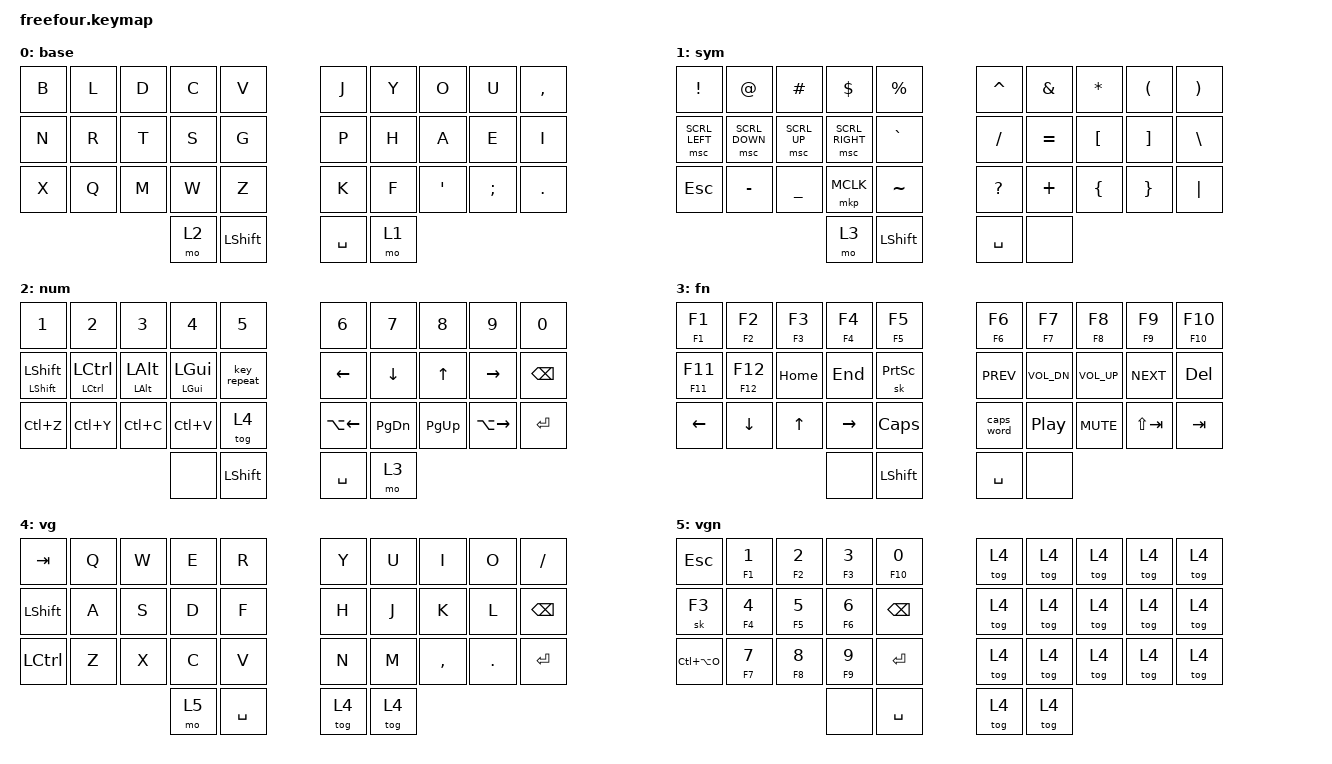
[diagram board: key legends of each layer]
#include <behaviors.dtsi>
#include <dt-bindings/zmk/keys.h>

#include <dt-bindings/zmk/pointing.h>

&sk {
    release-after-ms = <2000>;
};

/ {
    behaviors {
        skt: sk_tap {
            compatible = "zmk,behavior-hold-tap";
            #binding-cells = <2>;
            flavor = "tap-preferred";
            tapping-term-ms = <250>;
            bindings = <&sk>, <&kp>;
            display-name = "Sk-Tap";
        };

        tsk: tap_sk {
            compatible = "zmk,behavior-hold-tap";
            #binding-cells = <2>;
            flavor = "tap-preferred";
            tapping-term-ms = <200>;
            bindings = <&kp>, <&sk>;
            display-name = "Tap-Sk";
        };
    };

    keymap {
        compatible = "zmk,keymap";

        base { // Layer 0
            bindings = <
                &kp B     &kp L     &kp D     &kp C     &kp V          &kp J     &kp Y     &kp O     &kp U     &kp COMMA 
                &kp N     &kp R     &kp T     &kp S     &kp G          &kp P     &kp H     &kp A     &kp E     &kp I     
                &kp X     &kp Q     &kp M     &kp W     &kp Z          &kp K     &kp F     &kp APOS  &kp SEMI  &kp DOT   
                                              &mo 2     &kp LSHFT      &kp SPACE &mo 1                                   
            >;
        };

        sym {
            bindings = <
                &kp EXCL       &kp AT         &kp HASH     &kp DLLR        &kp PRCNT      &kp CARET &kp AMPS  &kp STAR  &kp LPAR  &kp RPAR  
                &msc SCRL_LEFT &msc SCRL_DOWN &msc SCRL_UP &msc SCRL_RIGHT &kp GRAVE      &kp SLASH &kp EQUAL &kp LBKT  &kp RBKT  &kp BSLH  
                &kp ESC        &kp MINUS      &kp UNDER    &mkp MCLK       &kp TILDE      &kp QMARK &kp PLUS  &kp LBRC  &kp RBRC  &kp PIPE  
                                                           &mo 3           &kp LSHFT      &kp SPACE &none                                   
            >;
        };

        num {
            bindings = <
                &kp N1     &kp N2     &kp N3    &kp N4    &kp N5         &kp N6       &kp N7    &kp N8    &kp N9        &kp N0    
                &tsk LSHFT LSHFT &tsk LCTRL LCTRL &tsk LALT LALT &tsk LGUI LGUI &key_repeat    &kp LEFT     &kp DOWN  &kp UP    &kp RIGHT     &kp BSPC  
                &kp LC(Z)  &kp LC(Y)  &kp LC(C) &kp LC(V) &tog 4         &kp LA(LEFT) &kp PG_DN &kp PG_UP &kp LA(RIGHT) &kp ENTER 
                                                &none     &kp LSHFT      &kp SPACE    &mo 3                                   
            >;
        };
        
        fn {
            bindings = <
                &skt F1 F1   &skt F2 F2   &skt F3 F3 &skt F4 F4 &skt F5 F5     &skt F6 F6 &skt F7 F7   &skt F8 F8   &skt F9 F9  &skt F10 F10
                &skt F11 F11 &skt F12 F12 &kp HOME   &kp END    &sk PSCRN      &kp C_PREV &kp C_VOL_DN &kp C_VOL_UP &kp C_NEXT  &kp DELETE
                &kp LEFT     &kp DOWN     &kp UP     &kp RIGHT  &kp CAPS       &caps_word &kp C_PP     &kp C_MUTE   &kp LS(TAB) &kp TAB   
                                                     &none     &kp LSHFT       &kp SPACE  &none                                   
            >;
        };

        vg {
            bindings = <
                &kp TAB     &kp Q     &kp W     &kp E     &kp R          &kp Y     &kp U     &kp I     &kp O     &kp SLASH 
                &kp LSHFT   &kp A     &kp S     &kp D     &kp F          &kp H     &kp J     &kp K     &kp L     &kp BSPC    
                &kp LCTRL   &kp Z     &kp X     &kp C     &kp V          &kp N     &kp M     &kp COMMA &kp DOT   &kp ENTER      
                                                &mo 5     &kp SPACE      &tog 4    &tog 4 
            >;
        };

        vgn {
            bindings = <
                &kp ESC    &mt F1 N1  &mt F2 N2 &mt F3 N3 &mt F10 N0      &tog 4    &tog 4    &tog 4    &tog 4    &tog 4 
                &sk F3     &mt F4 N4  &mt F5 N5 &mt F6 N6 &kp BSPC       &tog 4    &tog 4    &tog 4    &tog 4    &tog 4    
                &kp LC(LA(O)) &mt F7 N7  &mt F8 N8 &mt F9 N9 &kp ENTER      &tog 4    &tog 4    &tog 4    &tog 4    &tog 4    
                                                &none     &kp SPACE      &tog 4    &tog 4 
            >;
        };
    };
 };
